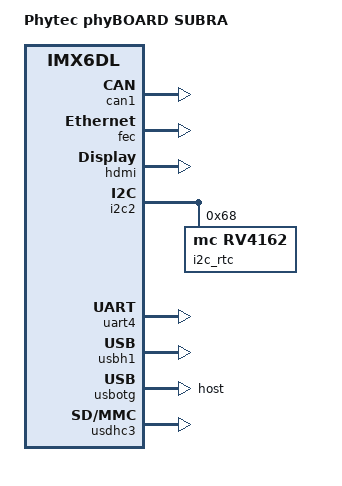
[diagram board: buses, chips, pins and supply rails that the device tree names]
/*
 * Copyright 2014 Christian Hemp, Phytec Messtechnik GmbH
 *
 * The code contained herein is licensed under the GNU General Public
 * License. You may obtain a copy of the GNU General Public License
 * Version 2 or later at the following locations:
 *
 * http://www.opensource.org/licenses/gpl-license.html
 * http://www.gnu.org/copyleft/gpl.html
 */

/dts-v1/;
#include "imx6dl-phytec-pfla02.dtsi"

/ {
	model = "Phytec phyBOARD SUBRA";
	compatible = "phytec,imx6dl-pbab05", "phytec,imx6dl-pfla02", "fsl,imx6dl";

	aliases {
		rtc0 = &i2c_rtc;
	};

	chosen {
		stdout-path = &uart4;
	};
};

&can1 {
/*	gpio = <&gpio4 5 0>; CAN enable GPIO must fix */
	status = "okay";
};

&fec {
	status = "okay";
};

&hdmi {
	status = "okay";
};

&i2c2 {
	status = "okay";

	i2c_rtc: rtc@68 {
		compatible = "mc,rv4162";
		reg = <0x68>;
	};
};

&uart4 {
	status = "okay";
};

&usbh1 {
	status = "okay";
};

&usbotg {
	status = "okay";
	dr_mode = "host";
};

&usdhc3 {
	status = "okay";
};
